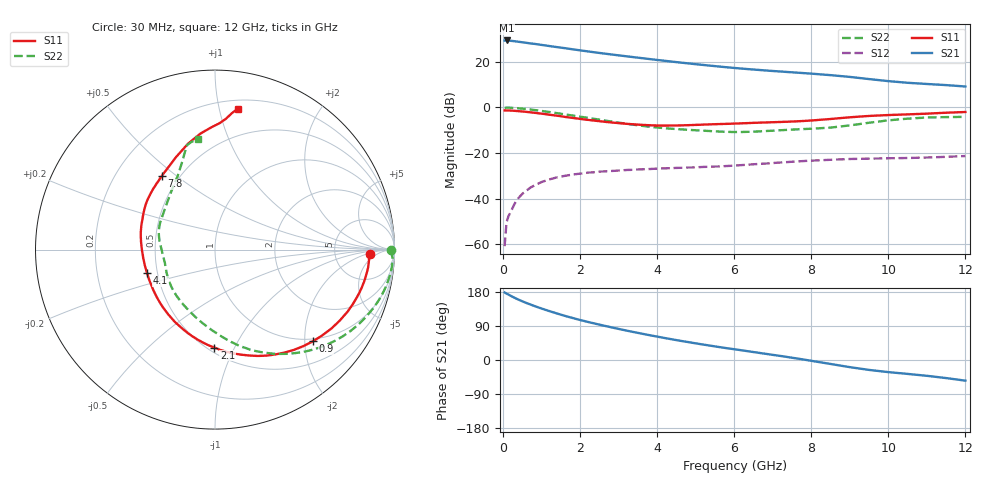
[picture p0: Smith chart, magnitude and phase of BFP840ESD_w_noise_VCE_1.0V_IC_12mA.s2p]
! Infineon Technologies  Discrete & RF Semiconductors
! BFP840ESD
! VCE =  1.0 V,  IC =  12 mA
! Common Emitter S-Parameters:  May 2012
# GHz  S  MA  R  50
!  f  S11  S21  S12  S22
! GHz  MAG  ANG  MAG  ANG  MAG  ANG  MAG  ANG
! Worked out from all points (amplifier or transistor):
!   93 points, 30 MHz to 12 GHz, reference 50 ohm
!   highest |S21| = 29.4 dB at 80 MHz (marker M1)
!   |S21| within 3 dB of that: start of sweep to 1.424 GHz
!   unconditionally stable (mu >= 1): 5.284 GHz to 10.12 GHz
!   at 1.1 GHz: K = 0.31, MSG = 29.7 dB, |S12| = -32.1 dB
!   at 4.2 GHz: K = 0.86, MSG = 23.6 dB, |S12| = -26.7 dB
!   at 12 GHz: K = 0.77, MSG = 15.3 dB, |S12| = -21.3 dB
!   lowest NFmin = 0.89 dB at 450 MHz
!   S11 on the Smith chart (normalised r, x): 30 MHz: 13, -2; 900 MHz: 0.94, -2.18; 2.1 GHz: 0.54, -0.84; 4.1 GHz: 0.44, -0.14; 7.8 GHz: 0.40, +0.44; 12 GHz: 0.27, +1.14
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0.03  0.8613 -1.5  29.41 178.1  0.0009 113.6  0.981 -0.2
0.08  0.8599 -4.2  29.62 175.2  0.003 71.1  0.99 -2.8
0.28  0.8448 -14.4  28.55 164.6  0.0074 82.3  0.9761 -11.6
0.43  0.8255 -21.7  27.45 157.5  0.0112 76.1  0.9532 -17.6
0.6  0.7995 -29.7  26.24 150.3  0.015 71.3  0.9217 -24.0
0.8  0.7646 -38.8  24.96 142.6  0.0193 65.8  0.8808 -31.0
0.9  0.747 -43.2  24.27 139.0  0.0212 62.6  0.8588 -34.4
1.2  0.6932 -55.8  22.29 128.8  0.0264 55.6  0.7926 -43.9
1.5  0.6396 -67.9  20.55 119.4  0.0304 49.5  0.7266 -52.6
1.8  0.5892 -79.5  18.92 110.8  0.0338 44.7  0.6652 -60.7
2.1  0.5455 -90.4  17.45 102.9  0.0362 40.4  0.6086 -68.2
2.6  0.4884 -108.3  15.33 90.8  0.0394 34.9  0.5227 -80.0
3.1  0.4448 -126.0  13.6 79.7  0.0418 30.9  0.4512 -91.8
3.6  0.4148 -143.4  12.11 69.4  0.0439 27.4  0.3955 -104.9
4.1  0.4005 -160.7  10.8 59.7  0.0458 24.8  0.3563 -118.7
4.9  0.4114 176.2  9.096 45.5  0.0481 21.8  0.3194 -139.5
6.1  0.4454 153.6  7.25 26.9  0.0536 19.8  0.2895 -167.9
7.8  0.505 126.0  5.682 1.2  0.0666 12.2  0.3356 157.4
8.5  0.559 112.9  5.125 -10.5  0.071 7.3  0.3614 140.3
9.5  0.6517 97.1  4.201 -26.2  0.0751 -0.3  0.4622 116.6
10.5  0.7051 87.9  3.483 -36.7  0.0777 -5.9  0.568 107.2
12  0.7952 80.7  2.888 -54.5  0.0858 -12.5  0.6219 99.0
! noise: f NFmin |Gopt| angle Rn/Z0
0.45  0.89  0.22  1  0.14
0.9  0.89  0.22  4  0.14
1.5  0.9  0.22  9  0.13
1.9  0.91  0.2  13  0.12
2.4  0.91  0.17  23  0.12
3.5  0.93  0.1  61  0.1
5.5  0.99  0.07  168  0.1
8  1.11  0.3  -121  0.11
10  1.24  0.48  -85  0.2
12  1.46  0.61  -69  0.29
